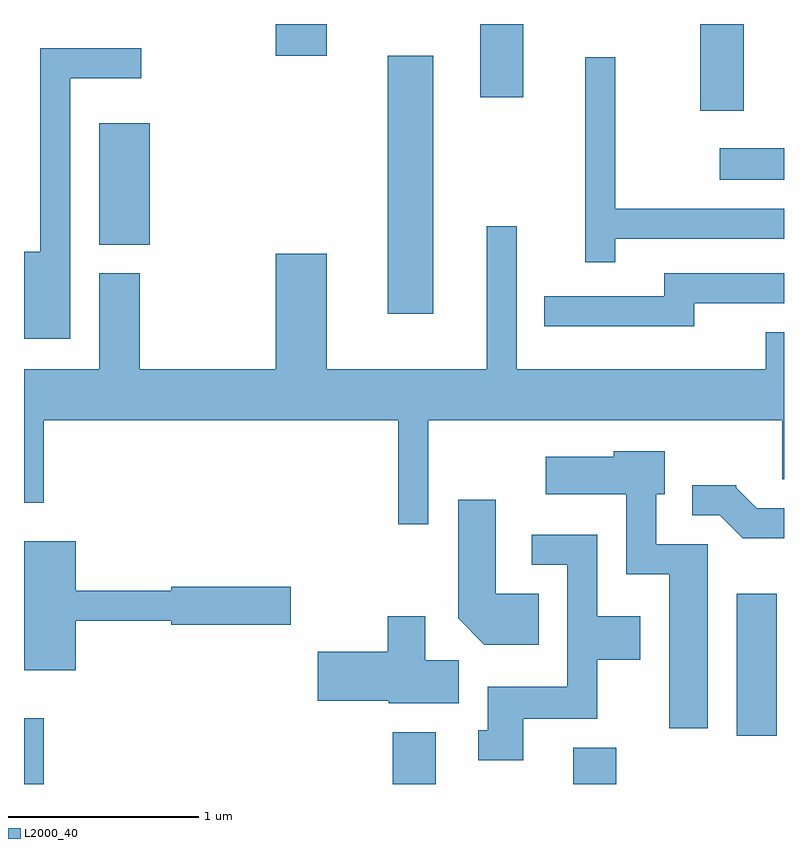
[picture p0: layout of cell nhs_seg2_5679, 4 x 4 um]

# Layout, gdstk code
import gdstk
lib = gdstk.Library(unit=1e-6, precision=1e-09)
def R(c, l, rs):  # rectangles x0, y0, x1, y1
    for r in rs: c.add(gdstk.rectangle(r[:2], r[2:], *l))
def P(c, l, *ps):  # polygons
    for p in ps: c.add(gdstk.Polygon(p, *l))
L2000_40 = (2000, 40)

nhs_seg2_5679 = lib.new_cell('nhs_seg2_5679')
R(nhs_seg2_5679, L2000_40, [(353.611,979.802,353.714,980.148), (355.551,979.802,355.779,980.074), (356.501,979.802,356.729,979.994), (357.361,980.056,357.574,980.804), (355.526,982.276,355.764,983.634), (354.006,982.641,354.274,983.279), (357.273,982.981,357.611,983.149), (357.171,983.346,357.399,983.802), (356.011,983.416,356.239,983.802), (354.936,983.636,355.204,983.802)])
P(nhs_seg2_5679, L2000_40, [(353.854,983.516),(354.228,983.516),(354.228,983.674),(353.696,983.674),(353.696,982.604),(353.611,982.604),(353.611,982.146),(353.854,982.146)],
  [(356.724,982.671),(357.611,982.671),(357.611,982.829),(356.724,982.829),(356.724,983.628),(356.566,983.628),(356.566,982.548),(356.724,982.548)],
  [(355.739,981.716),(357.601,981.716),(357.601,981.406),(357.611,981.406),(357.611,982.179),(357.516,982.179),(357.516,981.984),(356.204,981.984),(356.204,982.738),(356.046,982.738),(356.046,981.984),(355.204,981.984),(355.204,982.594),(354.936,982.594),(354.936,981.984),(354.219,981.984),(354.219,982.489),(354.006,982.489),(354.006,981.984),(353.611,981.984),(353.611,981.283),(353.714,981.283),(353.714,981.716),(355.581,981.716),(355.581,981.168),(355.739,981.168)],
  [(357.139,982.331),(357.611,982.331),(357.611,982.489),(356.981,982.489),(356.981,982.369),(356.348,982.369),(356.348,982.211),(357.139,982.211)],
  [(357.209,981.064),(356.939,981.064),(356.939,981.326),(356.984,981.326),(356.984,981.554),(356.716,981.554),(356.716,981.524),(356.356,981.524),(356.356,981.326),(356.781,981.326),(356.781,980.906),(357.006,980.906),(357.006,980.096),(357.209,980.096)],
  [(357.611,981.254),(357.467,981.254),(357.36,981.361),(357.36,981.374),(357.128,981.374),(357.128,981.216),(357.274,981.216),(357.394,981.096),(357.611,981.096)],
  [(356.319,980.804),(356.094,980.804),(356.094,981.299),(355.896,981.299),(355.896,980.674),(356.034,980.536),(356.319,980.536)],
  [(356.239,980.146),(356.629,980.146),(356.629,980.456),(356.854,980.456),(356.854,980.684),(356.629,980.684),(356.629,981.114),(356.283,981.114),(356.283,980.956),(356.471,980.956),(356.471,980.314),(356.051,980.314),(356.051,980.084),(356.003,980.084),(356.003,979.926),(356.239,979.926)],
  [(353.884,980.661),(354.386,980.661),(354.386,980.641),(355.014,980.641),(355.014,980.839),(354.386,980.839),(354.386,980.819),(353.884,980.819),(353.884,981.079),(353.611,981.079),(353.611,980.401),(353.884,980.401)],
  [(355.899,980.454),(355.724,980.454),(355.724,980.684),(355.526,980.684),(355.526,980.499),(355.156,980.499),(355.156,980.241),(355.53,980.241),(355.53,980.226),(355.899,980.226)])

lib.write_gds('nhs_seg2_5679.gds')
